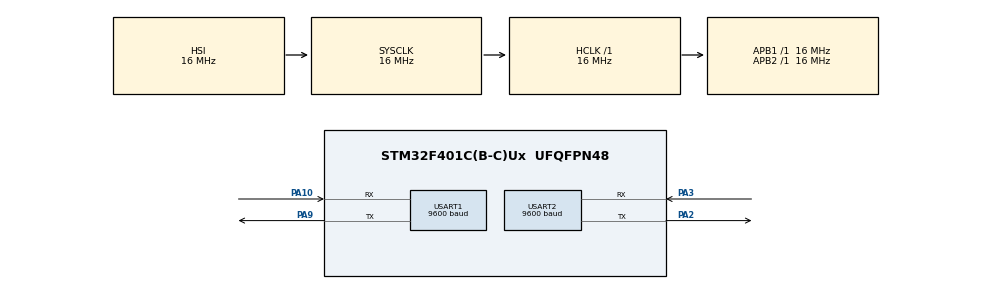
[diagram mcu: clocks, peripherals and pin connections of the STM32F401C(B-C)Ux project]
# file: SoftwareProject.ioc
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Mcu.Family=STM32F4
Mcu.Name=STM32F401C(B-C)Ux
Mcu.Package=UFQFPN48
NVIC.PriorityGroup=NVIC_PRIORITYGROUP_4
NVIC.USART1_IRQn=true\:0\:0\:false\:false\:true\:true\:true\:true
NVIC.USART2_IRQn=true\:0\:0\:false\:false\:true\:true\:true\:true
PA10.Mode=Asynchronous
PA10.Signal=USART1_RX
PA2.Mode=Asynchronous
PA2.Signal=USART2_TX
PA3.Mode=Asynchronous
PA3.Signal=USART2_RX
PA9.Mode=Asynchronous
PA9.Signal=USART1_TX
ProjectManager.HeapSize=0x200
ProjectManager.StackSize=0x400
ProjectManager.TargetToolchain=STM32CubeIDE
RCC.AHBFreq_Value=16000000
RCC.APB1Freq_Value=16000000
RCC.APB2Freq_Value=16000000
RCC.CortexFreq_Value=16000000
RCC.HSE_VALUE=25000000
RCC.HSI_VALUE=16000000
RCC.LSE_VALUE=32768
RCC.SYSCLKFreq_VALUE=16000000
RCC.VCOOutputFreq_Value=192000000
USART1.BaudRate=9600
USART1.VirtualMode=VM_ASYNC
USART2.BaudRate=9600
USART2.VirtualMode=VM_ASYNC
board=custom

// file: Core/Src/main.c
/* USER CODE BEGIN Header */
/**
  ******************************************************************************
  * @file           : main.c
  * @brief          : Ground Station (Yer İstasyonu) Main program body
  ******************************************************************************
  */
/* USER CODE END Header */
#include "main.h"

/* USER CODE BEGIN Includes */
#include <string.h>
#include <stdio.h>
/* USER CODE END Includes */

UART_HandleTypeDef huart1;
UART_HandleTypeDef huart2;

/* USER CODE BEGIN PV */
uint8_t rx_pc;
uint8_t rx_lora;

uint8_t addr_master[] = {0x00, 0x02, 0x0C};

/* Uzun paket tamponu */
char    pc_buf[96];
uint8_t pc_idx   = 0;
uint8_t in_packet = 0;   /* '$' görüldüğünde 1 olur */
/* USER CODE END PV */

void SystemClock_Config(void);
static void MX_GPIO_Init(void);
static void MX_USART1_UART_Init(void);
static void MX_USART2_UART_Init(void);

int main(void)
{

  /* MCU Configuration--------------------------------------------------------*/

  /* Reset of all peripherals, Initializes the Flash interface and the Systick. */
  HAL_Init();

  /* Configure the system clock */
  SystemClock_Config();

  /* Initialize all configured peripherals */
  MX_GPIO_Init();
  MX_USART1_UART_Init();
  MX_USART2_UART_Init();
  /* USER CODE BEGIN 2 */
  HAL_UART_Receive_IT(&huart2, &rx_pc,   1);
  HAL_UART_Receive_IT(&huart1, &rx_lora, 1);
  HAL_UART_Transmit(&huart2,
      (uint8_t*)"[GS] Ready. Bridge active.\r\n", 28, 100);
  /* USER CODE END 2 */

  /* Infinite loop */
  while (1)
  {

  }
}

void SystemClock_Config(void)
{
  RCC_OscInitTypeDef RCC_OscInitStruct = {0};
  RCC_ClkInitTypeDef RCC_ClkInitStruct = {0};

  /** Configure the main internal regulator output voltage
  */
  __HAL_RCC_PWR_CLK_ENABLE();
  __HAL_PWR_VOLTAGESCALING_CONFIG(PWR_REGULATOR_VOLTAGE_SCALE2);

  /** Initializes the RCC Oscillators according to the specified parameters
  * in the RCC_OscInitTypeDef structure.
  */
  RCC_OscInitStruct.OscillatorType = RCC_OSCILLATORTYPE_HSI;
  RCC_OscInitStruct.HSIState = RCC_HSI_ON;
  RCC_OscInitStruct.HSICalibrationValue = RCC_HSICALIBRATION_DEFAULT;
  RCC_OscInitStruct.PLL.PLLState = RCC_PLL_NONE;
  if (HAL_RCC_OscConfig(&RCC_OscInitStruct) != HAL_OK)
  {
    Error_Handler();
  }

  /** Initializes the CPU, AHB and APB buses clocks
  */
  RCC_ClkInitStruct.ClockType = RCC_CLOCKTYPE_HCLK|RCC_CLOCKTYPE_SYSCLK
                              |RCC_CLOCKTYPE_PCLK1|RCC_CLOCKTYPE_PCLK2;
  RCC_ClkInitStruct.SYSCLKSource = RCC_SYSCLKSOURCE_HSI;
  RCC_ClkInitStruct.AHBCLKDivider = RCC_SYSCLK_DIV1;
  RCC_ClkInitStruct.APB1CLKDivider = RCC_HCLK_DIV1;
  RCC_ClkInitStruct.APB2CLKDivider = RCC_HCLK_DIV1;

  if (HAL_RCC_ClockConfig(&RCC_ClkInitStruct, FLASH_LATENCY_0) != HAL_OK)
  {
    Error_Handler();
  }
}

static void MX_USART1_UART_Init(void)
{

  huart1.Instance = USART1;
  huart1.Init.BaudRate = 9600;
  huart1.Init.WordLength = UART_WORDLENGTH_8B;
  huart1.Init.StopBits = UART_STOPBITS_1;
  huart1.Init.Parity = UART_PARITY_NONE;
  huart1.Init.Mode = UART_MODE_TX_RX;
  huart1.Init.HwFlowCtl = UART_HWCONTROL_NONE;
  huart1.Init.OverSampling = UART_OVERSAMPLING_16;
  if (HAL_UART_Init(&huart1) != HAL_OK)
  {
    Error_Handler();
  }

}

static void MX_USART2_UART_Init(void)
{

  huart2.Instance = USART2;
  huart2.Init.BaudRate = 115200;
  huart2.Init.WordLength = UART_WORDLENGTH_8B;
  huart2.Init.StopBits = UART_STOPBITS_1;
  huart2.Init.Parity = UART_PARITY_NONE;
  huart2.Init.Mode = UART_MODE_TX_RX;
  huart2.Init.HwFlowCtl = UART_HWCONTROL_NONE;
  huart2.Init.OverSampling = UART_OVERSAMPLING_16;
  if (HAL_UART_Init(&huart2) != HAL_OK)
  {
    Error_Handler();
  }

}

static void MX_GPIO_Init(void)
{

  /* GPIO Ports Clock Enable */
  __HAL_RCC_GPIOA_CLK_ENABLE();

}

/* USER CODE BEGIN 4 */
void HAL_UART_RxCpltCallback(UART_HandleTypeDef *huart)
{
    /* ── PC → Master ─────────────────────────────────────── */
    if (huart->Instance == USART2)
    {
        char c = (char)rx_pc;

        if (c == '$')
        {
            /* Uzun paket başlıyor — tamponu sıfırla */
            pc_idx    = 0;
            in_packet = 1;
            pc_buf[pc_idx++] = c;
        }
        else if (in_packet)
        {
            /* Paketi tamponla */
            if (pc_idx < 94) pc_buf[pc_idx++] = c;

            if (c == '\n')
            {
                /* Paket tamamlandı — addr_master + tam paket ilet */
                pc_buf[pc_idx] = '\0';
                HAL_UART_Transmit(&huart1, addr_master, 3, 10);
                HAL_UART_Transmit(&huart1,
                    (uint8_t*)pc_buf, pc_idx, 50);
                pc_idx    = 0;
                in_packet = 0;
            }
        }
        else
        {
            /* Tek byte komut: F B L R S G A */
            HAL_UART_Transmit(&huart1, addr_master, 3, 10);
            HAL_UART_Transmit(&huart1, &rx_pc, 1, 10);
        }

        HAL_UART_Receive_IT(&huart2, &rx_pc, 1);
    }

    /* ── LoRa (Master/Slave) → PC ────────────────────────── */
    if (huart->Instance == USART1)
    {
        HAL_UART_Transmit(&huart2, &rx_lora, 1, 5);
        HAL_UART_Receive_IT(&huart1, &rx_lora, 1);
    }
}
/* USER CODE END 4 */

void Error_Handler(void)
{
  __disable_irq();
  while (1)
  {
  }
}
